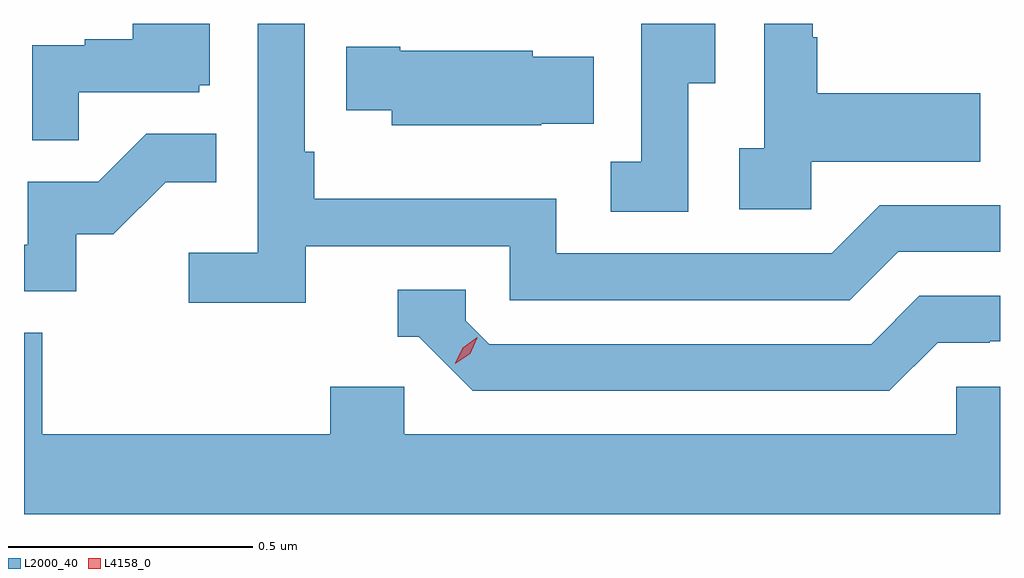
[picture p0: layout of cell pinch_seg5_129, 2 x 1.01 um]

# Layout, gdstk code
import gdstk
lib = gdstk.Library(unit=1e-6, precision=1e-09)
def P(c, l, *ps):  # polygons
    for p in ps: c.add(gdstk.Polygon(p, *l))
L2000_40 = (2000, 40)
L4158_0 = (4158, 0)

pinch_seg5_129 = lib.new_cell('pinch_seg5_129')
P(pinch_seg5_129, L2000_40, [(1067.684,877.29),(1068.102,877.29),(1068.102,877.179),(1068.799,877.179),(1068.898,877.278),(1069.107,877.278),(1069.107,877.374),(1068.861,877.374),(1068.762,877.275),(1068.198,877.275),(1068.198,877.387),(1067.702,877.387),(1067.702,877.483),(1067.682,877.483),(1067.682,877.746),(1067.586,877.746),(1067.586,877.276),(1067.445,877.276),(1067.445,877.174),(1067.684,877.174)],
  [(1067.219,877.605),(1067.466,877.605),(1067.466,877.62),(1067.488,877.62),(1067.488,877.746),(1067.33,877.746),(1067.33,877.714),(1067.231,877.714),(1067.231,877.701),(1067.124,877.701),(1067.124,877.507),(1067.219,877.507)],
  [(1068.468,877.624),(1068.523,877.624),(1068.523,877.746),(1068.372,877.746),(1068.372,877.463),(1068.309,877.463),(1068.309,877.36),(1068.468,877.36)],
  [(1068.72,877.463),(1069.067,877.463),(1069.067,877.603),(1068.733,877.603),(1068.733,877.718),(1068.723,877.718),(1068.723,877.746),(1068.624,877.746),(1068.624,877.49),(1068.573,877.49),(1068.573,877.365),(1068.72,877.365)],
  [(1068.167,877.541),(1068.275,877.541),(1068.275,877.678),(1068.15,877.678),(1068.15,877.69),(1067.878,877.69),(1067.878,877.698),(1067.767,877.698),(1067.767,877.568),(1067.861,877.568),(1067.861,877.538),(1068.167,877.538)],
  [(1067.214,877.314),(1067.29,877.314),(1067.397,877.421),(1067.501,877.421),(1067.501,877.52),(1067.357,877.52),(1067.259,877.422),(1067.115,877.422),(1067.115,877.293),(1067.107,877.293),(1067.107,877.197),(1067.214,877.197)],
  [(1068.979,877.092),(1069.086,877.092),(1069.086,877.095),(1069.107,877.095),(1069.107,877.188),(1068.942,877.188),(1068.843,877.089),(1068.06,877.089),(1068.012,877.137),(1068.012,877.2),(1067.873,877.2),(1067.873,877.104),(1067.916,877.104),(1068.027,876.993),(1068.88,876.993)],
  [(1069.107,877.002),(1069.017,877.002),(1069.017,876.904),(1067.886,876.904),(1067.886,877.002),(1067.735,877.002),(1067.735,876.904),(1067.144,876.904),(1067.144,877.112),(1067.107,877.112),(1067.107,876.74),(1069.107,876.74)])
P(pinch_seg5_129, L4158_0, [(1067.991,877.049),(1067.991,877.05),(1068.006,877.082),(1068.036,877.103),(1068.036,877.103),(1068.036,877.102),(1068.021,877.069),(1067.991,877.049)])

lib.write_gds('pinch_seg5_129.gds')
